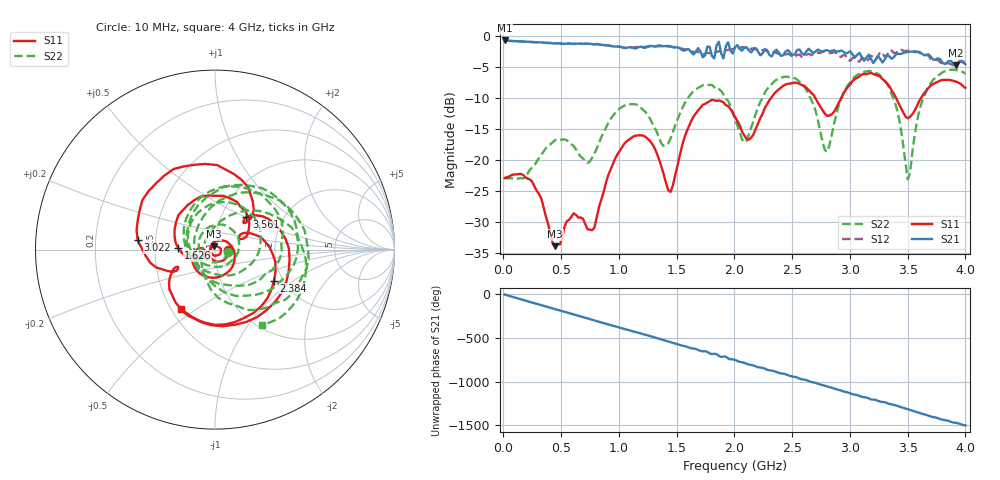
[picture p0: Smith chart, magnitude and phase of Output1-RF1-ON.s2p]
! 9/28/2016 1:17:09 PM
! C:\USERS\ANRITSUUSER\DESKTOP\SWITCHES\OUTPUT1-RF1-ON.S2P
! CHANNEL.1
! TR.MEASUREMENT
! CORRECTED.DATA
# GHZ S RI R 50.0
! FREQ.GHZ  S11RE  S11IM  S21RE  S21IM  S12RE  S12IM  S22RE  S22IM
!; PortSelection: Port_12
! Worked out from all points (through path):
!   201 points, 10 MHz to 4 GHz, reference 50 ohm
!   highest |S21| = -0.72 dB at 10 MHz (marker M1); lowest = -4.7 dB at 3.92 GHz (marker M2)
!   group delay of S21, straight-line fit = 1.04 ns
!   lowest |S11| = -33.8 dB at 448.9 MHz (marker M3), VSWR 1.04, Z = 49.2 + j1.85 ohm
!   |S11| at or under -10 dB: start of sweep to 2.317 GHz; 2.701 GHz to 2.925 GHz (223.7 MHz wide, 7.95 % of centre); 3.4 GHz to 3.615 GHz (214.9 MHz wide, 6.13 % of centre)
!   |S22| runs from -23.1 to -5.4 dB; largest |S21 - S12| = 0.16
!   S11 on the Smith chart (normalised r, x): 10 MHz: 1.15, -0.01; 1.626 GHz: 0.66, +0.01; 2.384 GHz: 1.80, -0.72; 3.022 GHz: 0.40, +0.05; 3.561 GHz: 1.31, +0.51; 4 GHz: 0.56, -0.44
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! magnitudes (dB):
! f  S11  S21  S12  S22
! 10 MHz  -22.9  -0.7  -0.7  -22.8
! 249.4 MHz  -23.5  -1.0  -1.0  -21.2
! 448.9 MHz  -33.8  -1.2  -1.2  -16.7
! 688.3 MHz  -29.4  -1.3  -1.3  -19.7
! 788 MHz  -30.8  -1.3  -1.3  -18.9
! 1.067 GHz  -17.0  -1.9  -1.8  -11.1
! 1.347 GHz  -19.8  -1.5  -1.7  -16.4
! 1.446 GHz  -25.1  -1.7  -1.7  -16.5
! 1.626 GHz  -13.7  -2.6  -2.4  -9.3
! 1.806 GHz  -10.3  -3.2  -3.0  -7.9
! 2.005 GHz  -13.0  -1.8  -2.0  -13.4
! 2.105 GHz  -16.6  -1.8  -2.0  -16.9
! 2.384 GHz  -8.6  -2.7  -2.9  -6.9
! 2.683 GHz  -9.5  -2.8  -3.0  -11.0
! 2.803 GHz  -12.9  -2.3  -2.6  -18.7
! 3.022 GHz  -7.2  -2.9  -3.5  -6.9
! 3.342 GHz  -8.1  -3.3  -2.3  -8.4
! 3.501 GHz  -13.3  -2.6  -2.4  -23.1
! 3.561 GHz  -12.0  -2.6  -2.5  -15.9
! 3.681 GHz  -8.3  -3.0  -3.2  -8.1
! 3.92 GHz  -7.4  -4.7  -4.6  -5.5
! 4 GHz  -8.4  -4.6  -4.2  -6.1
